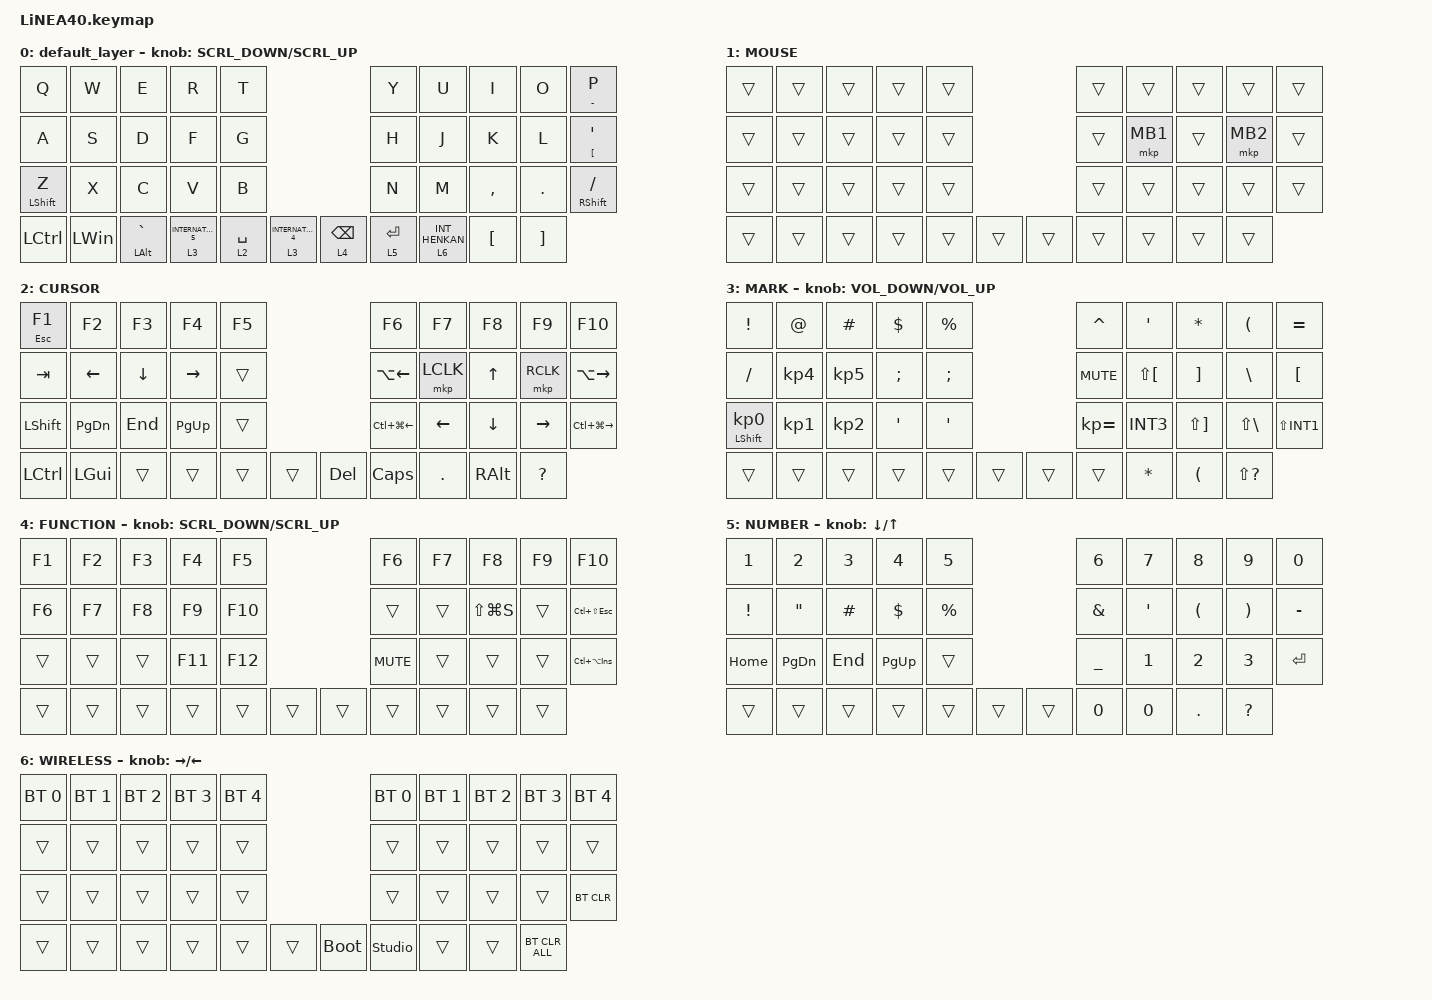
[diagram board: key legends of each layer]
#define ZMK_POINTING_DEFAULT_SCRL_VAL 150

#include <dt-bindings/zmk/input_transform.h>
#include <input/processors.dtsi>
#include <zephyr/dt-bindings/input/input-event-codes.h>
#include "keys_ja.h"
#include <behaviors.dtsi>
#include <dt-bindings/zmk/bt.h>
#include <dt-bindings/zmk/keys.h>
#include <dt-bindings/zmk/pointing.h>

#define MOUSE 1
#define MARK 2
#define CURSOR 3
#define FUNCTION 4
#define SCROLL 3
#define WIRELESS 6

//mouse cursol

&mmv {
    delay-ms = <20>;
    trigger-period-ms = <5>;
    time-to-max-speed-ms = <100>;
    acceleration-exponent = <2>;
};

//mouse scroll

&msc {
    delay-ms = <3>;
    trigger-period-ms = <3>;
    time-to-max-speed-ms = <100>;
    acceleration-exponent = <0>;
};

/ {
    input_processors {
        zip_wheel_scaler: zip_wheel_scaler {
            compatible = "zmk,input-processor-scaler";
            #input-processor-cells = <2>;
            type = <INPUT_EV_REL>;
            codes = <INPUT_REL_WHEEL>;
            track-remainders;
        };
    };
};

&msc_input_listener {
    speed_up {
        layers = <FUNCTION>;
        input-processors = <&zip_wheel_scaler 3 1>; //スクロールを3倍速にする
    };
};

&trackball_listener {
    input-processors = <&zip_xy_scaler 3 4>;
    scroller {
        layers = <SCROLL>;
        input-processors =
            <&zip_xy_transform INPUT_TRANSFORM_Y_INVERT>,
            //スクロール方向を逆転,,,,,,,,,,
            <&zip_xy_scaler 1 3>,
            <&zip_xy_to_scroll_mapper>;
    };
};

/ {
    combos {
        compatible = "zmk,combos";

        ZenkakuHankaku {
            bindings = <&kp GRAVE>;
            key-positions = <11 12>;
        };

        DeleteKey {
            bindings = <&kp DEL>;
            key-positions = <7 8>;
        };

        InsertKey {
            bindings = <&kp INS>;
            key-positions = <6 7>;
        };

        CenterClick {
            bindings = <&mkp MB3>;
            key-positions = <17 16>;
        };

        RightClick {
            bindings = <&mkp MB2>;
            key-positions = <18 17>;
        };

        PrevClick {
            bindings = <&mkp MB4>;
            key-positions = <27 28>;
        };

        ClickNext {
            bindings = <&mkp MB5>;
            key-positions = <26 27>;
        };
    };

    behaviors {
        re_kp: sensor_rotate_kp {
            compatible = "zmk,behavior-sensor-rotate-var";
            #sensor-binding-cells = <2>;
            bindings = <&kp>, <&kp>;
        };

        mouse_scrl: mouse_wheel_scrl {
            compatible = "zmk,behavior-sensor-rotate-var";
            #sensor-binding-cells = <2>;
            bindings = <&msc>, <&msc>;

            tap-ms = <20>;
        };
    };

    macros {
        BrowserBack: BrowserBack {
            compatible = "zmk,behavior-macro";
            #binding-cells = <0>;
            bindings = <&kp LEFT_ALT &kp LEFT_ARROW>;
            label = "BROWSERBACK";
        };

        BrowserClose: BrowserClose {
            compatible = "zmk,behavior-macro";
            #binding-cells = <0>;
            bindings = <&kp LEFT_CONTROL &kp W>;
            label = "BROWSERCLOSE";
        };
    };

    keymap {
        compatible = "zmk,keymap";

        default_layer {
            bindings = <
&kp Q             &kp W         &kp E               &kp R                  &kp T                                                  &kp Y        &kp U  &kp I             &kp O             &mt MINUS P
&kp A             &kp S         &kp D               &kp F                  &kp G                                                  &kp H        &kp J  &kp K             &kp L             &mt LEFT_BRACKET SINGLE_QUOTE
&mt LEFT_SHIFT Z  &kp X         &kp C               &kp V                  &kp B                                                  &kp N        &kp M  &kp COMMA         &kp DOT           &mt RIGHT_SHIFT SLASH
&kp LCTRL         &kp LEFT_WIN  &mt LEFT_ALT GRAVE  &lt 3 INTERNATIONAL_5  &lt 2 SPACE  &lt 3 INTERNATIONAL_4    &lt 4 BACKSPACE  &lt 5 ENTER         &lt 6 INT_HENKAN  &kp LEFT_BRACKET  &kp RIGHT_BRACKET
            >;

            sensor-bindings = <&mouse_scrl SCRL_DOWN SCRL_UP>;
        };

        MOUSE {
            bindings = <
&trans  &trans  &trans  &trans  &trans                    &trans  &trans    &trans  &trans    &trans
&trans  &trans  &trans  &trans  &trans                    &trans  &mkp MB1  &trans  &mkp MB2  &trans
&trans  &trans  &trans  &trans  &trans                    &trans  &trans    &trans  &trans    &trans
&trans  &trans  &trans  &trans  &trans  &trans    &trans  &trans            &trans  &trans    &trans
            >;
        };

        CURSOR {
            bindings = <
&mt ESCAPE F1     &kp F2          &kp F3    &kp F4           &kp F5                        &kp F6            &kp F7     &kp F8          &kp F9           &kp F10
&kp TAB           &kp LEFT_ARROW  &kp DOWN  &kp RIGHT_ARROW  &trans                        &kp LA(LEFT)      &mkp LCLK  &kp UP_ARROW    &mkp RCLK        &kp LA(RIGHT)
&kp LEFT_SHIFT    &kp PAGE_DOWN   &kp END   &kp PAGE_UP      &trans                        &kp LC(LG(LEFT))  &kp LEFT   &kp DOWN_ARROW  &kp RIGHT_ARROW  &kp LC(LG(RIGHT))
&kp LEFT_CONTROL  &kp LEFT_GUI    &trans    &trans           &trans  &trans    &kp DELETE  &kp CAPS                     &kp DOT         &kp RIGHT_ALT    &kp QUESTION
            >;
        };

        MARK {
            bindings = <
&kp EXCLAMATION             &kp AT_SIGN      &kp HASH         &kp DOLLAR     &kp PERCENT                      &kp CARET     &kp SQT       &kp ASTERISK           &kp LEFT_PARENTHESIS  &kp EQUAL
&kp SLASH                   &kp KP_NUMBER_4  &kp KP_NUMBER_5  &kp SEMICOLON  &kp SEMICOLON                    &kp C_MUTE    &kp LS(LBKT)  &kp RIGHT_BRACKET      &kp BACKSLASH         &kp LEFT_BRACKET
&mt LEFT_SHIFT KP_NUMBER_0  &kp KP_NUMBER_1  &kp KP_NUMBER_2  &kp APOS       &kp SQT                          &kp KP_EQUAL  &kp INT3      &kp LS(RIGHT_BRACKET)  &kp LS(BACKSLASH)     &kp LS(INT1)
&trans                      &trans           &trans           &trans         &trans         &trans    &trans  &trans                      &kp ASTERISK           &kp LEFT_PARENTHESIS  &kp LS(QUESTION)
            >;

            sensor-bindings = <&re_kp C_VOLUME_DOWN C_VOLUME_UP>;
        };

        FUNCTION {
            bindings = <
&kp F1  &kp F2  &kp F3  &kp F4   &kp F5                     &kp F6      &kp F7  &kp F8         &kp F9  &kp F10
&kp F6  &kp F7  &kp F8  &kp F9   &kp F10                    &trans      &trans  &kp LS(LG(S))  &trans  &kp LC(LS(ESCAPE))
&trans  &trans  &trans  &kp F11  &kp F12                    &kp C_MUTE  &trans  &trans         &trans  &kp LC(LA(INS))
&trans  &trans  &trans  &trans   &trans   &trans    &trans  &trans              &trans         &trans  &trans
            >;

            sensor-bindings = <&mouse_scrl SCRL_DOWN SCRL_UP>;
        };

        NUMBER {
            bindings = <
&kp NUMBER_1     &kp NUMBER_2       &kp NUMBER_3  &kp NUMBER_4  &kp N5                         &kp NUMBER_6   &kp NUMBER_7  &kp NUMBER_8          &kp NUMBER_9           &kp N0
&kp EXCLAMATION  &kp DOUBLE_QUOTES  &kp HASH      &kp DOLLAR    &kp PERCENT                    &kp AMPERSAND  &kp SQT       &kp LEFT_PARENTHESIS  &kp RIGHT_PARENTHESIS  &kp MINUS
&kp HOME         &kp PAGE_DOWN      &kp END       &kp PAGE_UP   &trans                         &kp UNDER      &kp NUMBER_1  &kp NUMBER_2          &kp NUMBER_3           &kp ENTER
&trans           &trans             &trans        &trans        &trans       &trans    &trans  &kp NUMBER_0                 &kp NUMBER_0          &kp DOT                &kp QUESTION
            >;

            sensor-bindings = <&inc_dec_kp DOWN_ARROW UP_ARROW>;
        };

        WIRELESS {
            bindings = <
&bt BT_SEL 0  &bt BT_SEL 1  &bt BT_SEL 2  &bt BT_SEL 3  &bt BT_SEL 4                         &bt BT_SEL 0    &bt BT_SEL 1  &bt BT_SEL 2  &bt BT_SEL 3  &bt BT_SEL 4
&trans        &trans        &trans        &trans        &trans                               &trans          &trans        &trans        &trans        &trans
&trans        &trans        &trans        &trans        &trans                               &trans          &trans        &trans        &trans        &bt BT_CLR
&trans        &trans        &trans        &trans        &trans        &trans    &bootloader  &studio_unlock                &trans        &trans        &bt BT_CLR_ALL
            >;

            sensor-bindings = <&inc_dec_kp RIGHT_ARROW LEFT_ARROW>;
        };
    };
};
